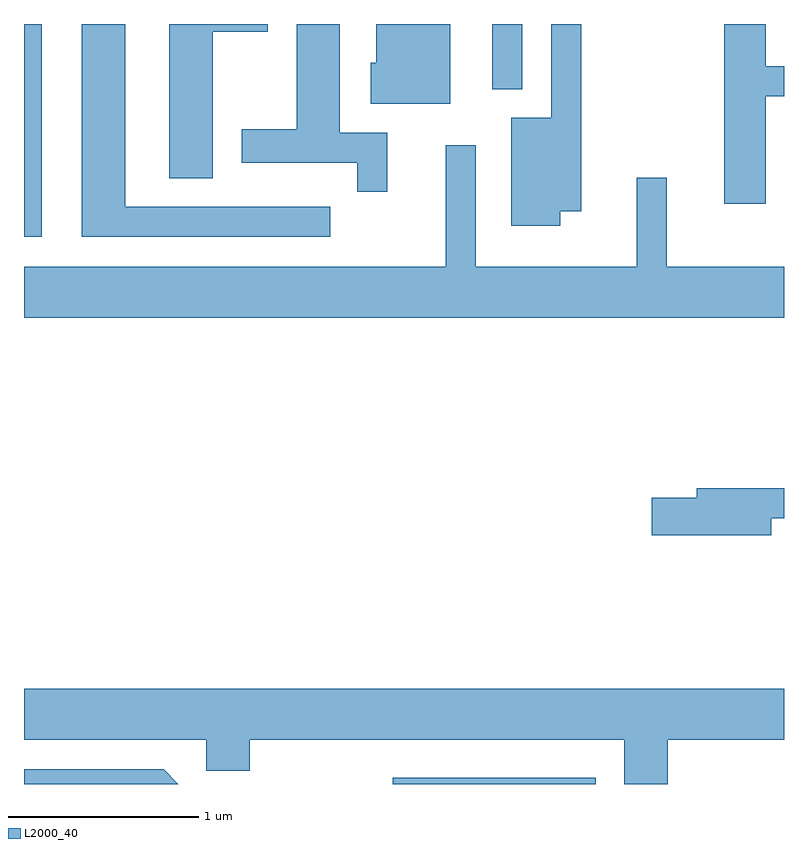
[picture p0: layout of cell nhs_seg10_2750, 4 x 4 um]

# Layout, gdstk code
import gdstk
lib = gdstk.Library(unit=1e-6, precision=1e-09)
def R(c, l, rs):  # rectangles x0, y0, x1, y1
    for r in rs: c.add(gdstk.rectangle(r[:2], r[2:], *l))
def P(c, l, *ps):  # polygons
    for p in ps: c.add(gdstk.Polygon(p, *l))
L2000_40 = (2000, 40)

nhs_seg10_2750 = lib.new_cell('nhs_seg10_2750')
R(nhs_seg10_2750, L2000_40, [(267.551,2162.522,268.619,2162.554), (265.611,2165.401,265.704,2166.522), (268.076,2166.178,268.234,2166.522)])
P(nhs_seg10_2750, L2000_40, [(266.604,2166.481),(266.894,2166.481),(266.894,2166.522),(266.376,2166.522),(266.376,2165.711),(266.604,2165.711)],
  [(267.223,2165.559),(266.144,2165.559),(266.144,2166.522),(265.916,2166.522),(265.916,2165.401),(267.223,2165.401)],
  [(267.524,2165.949),(267.274,2165.949),(267.274,2166.522),(267.046,2166.522),(267.046,2165.969),(266.756,2165.969),(266.756,2165.791),(267.366,2165.791),(267.366,2165.638),(267.524,2165.638)],
  [(268.434,2165.536),(268.544,2165.536),(268.544,2166.522),(268.386,2166.522),(268.386,2166.029),(268.176,2166.029),(268.176,2165.461),(268.434,2165.461)],
  [(269.514,2166.141),(269.611,2166.141),(269.611,2166.299),(269.514,2166.299),(269.514,2166.522),(269.296,2166.522),(269.296,2165.576),(269.514,2165.576)],
  [(267.854,2166.522),(267.466,2166.522),(267.466,2166.319),(267.436,2166.319),(267.436,2166.101),(267.854,2166.101)],
  [(269.611,2165.244),(268.994,2165.244),(268.994,2165.713),(268.836,2165.713),(268.836,2165.244),(267.989,2165.244),(267.989,2165.883),(267.831,2165.883),(267.831,2165.244),(265.611,2165.244),(265.611,2164.976),(269.611,2164.976)],
  [(269.544,2163.921),(269.611,2163.921),(269.611,2164.079),(269.151,2164.079),(269.151,2164.029),(268.916,2164.029),(268.916,2163.831),(269.544,2163.831)],
  [(268.999,2162.756),(269.611,2162.756),(269.611,2163.024),(265.611,2163.024),(265.611,2162.756),(266.571,2162.756),(266.571,2162.591),(266.799,2162.591),(266.799,2162.756),(268.771,2162.756),(268.771,2162.522),(268.999,2162.522)],
  [(266.347,2162.599),(265.611,2162.599),(265.611,2162.522),(266.424,2162.522)])

lib.write_gds('nhs_seg10_2750.gds')
